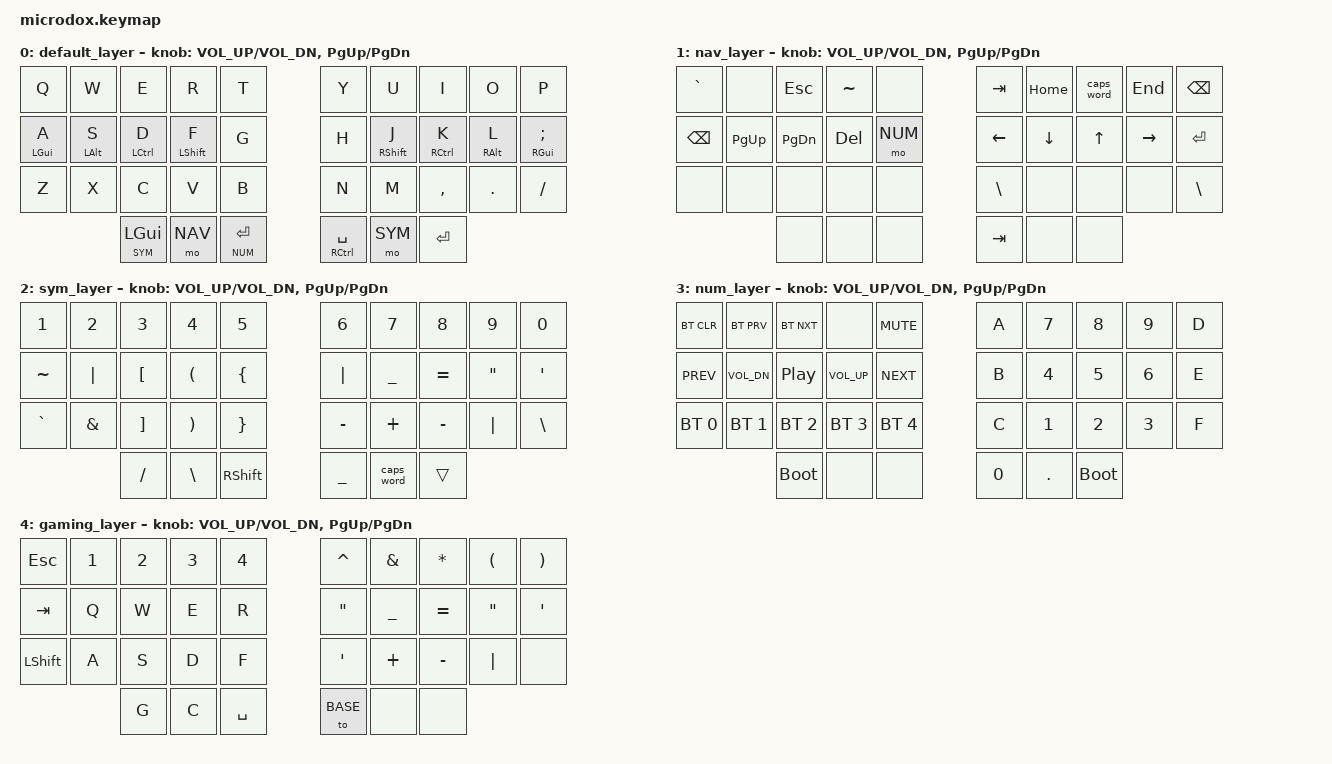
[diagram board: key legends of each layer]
// vim: set ft=c:
/*
 * Copyright (c) 2020 The ZMK Contributors
 *
 * SPDX-License-Identifier: MIT
 */

#include <behaviors.dtsi>
#include <dt-bindings/zmk/keys.h>
#include <dt-bindings/zmk/bt.h>

#define BASE 0
#define NAV  1
#define SYM  2
#define NUM  3
#define GAMING 4

&caps_word {
    continue-list = <UNDERSCORE BSPC>;
};

/{

/*
    macros {
        mute_teamspeak: mute_teamspeak {
            wait-ms = <10>;
            label = "mute_teamspeak";
            compatible = "zmk,behavior-macro";
            #binding-cells = <0>;
            bindings
            = <&macro_press &kp GRAVE &kp N1>
            , <&macro_wait_time 10>
            , <&macro_release &kp GRAVE &kp N1>
            ;
        }; 

        deafen_teamspeak: deafen_teamspeak {
            wait-ms = <10>;
            label = "deafen_teamspeak";
            compatible = "zmk,behavior-macro";
            #binding-cells = <0>;
            bindings
            = <&macro_press &kp GRAVE &kp N2>
            , <&macro_wait_time 10>
            , <&macro_release &kp GRAVE &kp N2>
            ;
        }; 
    };

    combos {
        compatible = "zmk,combos";
        combo_teamspeak_mute {
            timeout-ms = <50>;
            key-positions = <0 1>;
            bindings = <&mute_teamspeak>;
        };

        combo_teamspeak_deafen {
            timeout-ms = <50>;
            key-positions = <0 2>;
            bindings = <&deafen_teamspeak>;
        };

        combo_gaming_layer_switch {
            timeout-ms = <50>;
            key-positions = <0 3>;
            bindings = <&tog GAMING>;
        };
    };
*/
    behaviors {
        hm: homerow_mods {
            compatible = "zmk,behavior-hold-tap";
            label = "HOMEROW_MODS";
            #binding-cells = <2>;
            tapping-term-ms = <150>; // <---[[produces tap if held longer than tapping-term-ms]]
            quick-tap-ms = <75>;
            flavor = "tap-preferred";
            global-quick-tap;
            bindings = <&kp>, <&kp>;
        };
        phm: positional_homerow_mods {
            compatible = "zmk,behavior-hold-tap";
            label = "LEFT_POSITIONAL_HOMEROW_MODS";
            #binding-cells = <2>;
            tapping-term-ms = <150>; // <---[[produces tap if held longer than tapping-term-ms]]
            quick-tap-ms = <75>;
            flavor = "tap-preferred";
            bindings = <&kp>, <&kp>;
            global-quick-tap;
            hold-trigger-key-positions = <1 2 3 4 5>;
        };
    };

    keymap {
        compatible = "zmk,keymap";

        default_layer {
            // -----------------------------------------------------------------------------------------
            // |  Q  |  W  |  E  |  R  |  T   |   |  Y  |  U   |  I  |  O  |  P  |
            // |  A  |  S  |  D  |  F  |  G   |   |  H  |  J   |  K  |  L  |  ;  |
            // |  Z  |  X  |  C  |  V  |  B   |   |  N  |  M   |  ,  |  .  |  /  |
            //             | GUI | NAV | RET  |   | SPC | SYM  | ALT |

            bindings = <
                &kp Q           &kp W           &kp E           &kp R           &kp T           &kp Y               &kp U           &kp I           &kp O           &kp P
                &phm LGUI A     &phm LALT S     &phm LCTRL D    &phm LSHFT F    &kp G           &kp H               &hm RSHFT J     &hm RCTRL K     &hm RALT L      &hm RGUI SEMI
              //&hm  LGUI A     &hm  LALT S     &hm  LCTRL D    &hm  LSHFT F    &kp G           &kp H               &hm RSHFT J     &hm RCTRL K     &hm RALT L      &hm RGUI SEMI
                &kp Z           &kp X           &kp C           &kp V           &kp B           &kp N               &kp M           &kp COMMA       &kp DOT         &kp FSLH
                                                &lt SYM LGUI    &mo NAV         &lt NUM RET     &mt RCTRL SPACE     &mo SYM         &kp RET
            >;

            sensor-bindings = <&inc_dec_kp C_VOL_UP C_VOL_DN &inc_dec_kp PG_UP PG_DN>;

        };

        nav_layer {
            // -----------------------------------------------------------------------------------------
            // |  `   |      | ESC  |  ~   |     |   | TAB  | HOME |  UP  | END   | BKSP |
            // | BSPC | PGDN | PGUP | CTRL | NUM |   | LEFT | DOWN |  UP  | RIGHT | ENTR |
            // |      |      |      |      |     |   |  \   |      |      |       |  \   |
            //               |      |      |     |   |      |      |      |
            bindings = <
                &kp GRAVE    &none       &kp ESC        &kp TILDE       &none      &kp TAB      &kp HOME        &caps_word &kp END   &kp BSPC
                &kp BSPC     &kp PG_UP   &kp PG_DN      &kp DEL         &mo NUM    &kp LEFT     &kp DOWN        &kp UP     &kp RIGHT &kp RET
                &none        &none       &none          &none           &none      &kp BSLH     &none           &none      &none     &kp BSLH
                                         &none          &none           &none      &kp TAB      &none           &none 
            >;

            sensor-bindings = <&inc_dec_kp C_VOL_UP C_VOL_DN &inc_dec_kp PG_UP PG_DN>;

        };
   
        sym_layer {
            // -----------------------------------------------------------------------------------------
            // | 1/! | 2/@ | 3/# | 4/$ | 5/% |   | 6/^ | 7/& | 8/* | 9/( | 0/) |
            // |  ~  |  |  |  [  |  (  |  {  |   |  |  |  _  |  =  |  "  |  '  |
            // |  `  |  &  |  ]  |  )  |  }  |   |  -  |  +  |  -  |  |  |  \  |
            //             |  /  |  \  |SHFT |   |  _  |     |     |
            bindings = <
                &kp N1    &kp N2    &kp N3    &kp N4    &kp N5      &kp N6    &kp N7    &kp N8    &kp N9   &kp N0   
//              &kp EXCL  &kp AT    &kp HASH  &kp DLLR  &kp PRCNT   &kp CARET &kp AMPS  &kp STAR  &kp MINUS&kp EQUAL
                &kp TILDE &kp PIPE  &kp LBKT  &kp LPAR  &kp LBRC    &kp PIPE  &kp UNDER &kp EQUAL &kp DQT  &kp SQT 
                &kp GRAVE &kp AMPS  &kp RBKT  &kp RPAR  &kp RBRC    &kp MINUS &kp PLUS  &kp MINUS &kp PIPE &kp BSLH
                                    &kp FSLH  &kp BSLH  &kp RSHFT   &kp UNDER &caps_word &trans 
            >;

            sensor-bindings = <&inc_dec_kp C_VOL_UP C_VOL_DN &inc_dec_kp PG_UP PG_DN>;
        
        };

        // This layer is unreachable until "tri layer state" is sorted out.
        // Leaving it here for completeness.
        num_layer {
            // -----------------------------------------------------------------------------------------
            //  |      |     |     |     |     |   |  A  |  7  |  8  |  9  |  D  |
            //  |      |     |     |     |     |   |  B  |  4  |  5  |  6  |  E  |
            //  |      |     |     |     |     |   |  C  |  1  |  2  |  3  |  F  |
            //               |     |     |     |   |  0  |  .  |     |
            bindings = <
                &bt BT_CLR      &bt BT_PRV      &bt BT_NXT      &none           &kp C_MUTE      &kp A         &kp N7  &kp N8 &kp N9 &kp D
                &kp C_PREV      &kp C_VOL_DN    &kp C_PP        &kp C_VOL_UP    &kp C_NEXT      &kp B         &kp N4  &kp N5 &kp N6 &kp E
                &bt BT_SEL 0    &bt BT_SEL 1    &bt BT_SEL 2    &bt BT_SEL 3    &bt BT_SEL 4    &kp C         &kp N1  &kp N2 &kp N3 &kp F
                                                &bootloader     &none           &none           &kp N0        &kp DOT &bootloader
            >;

            sensor-bindings = <&inc_dec_kp C_VOL_UP C_VOL_DN &inc_dec_kp PG_UP PG_DN>;

        };

        gaming_layer {
            // -----------------------------------------------------------------------------------------
            // | ESC |  1  |  2  |  3  |  4  |   |  ^  |  &  |  *  |  (  |  )  |
            // | TAB |  Q  |  W  |  E  |  R  |   |  -  |  =  |  {  |  }  | "|" |
            // |     |  A  |  S  |  D  |  F  |   |  _  |  +  |  [  |  ]  |  \  |
            //             |  G  |  C  | SPC |   | L0  |     | ALT |
            bindings = <
                &kp ESC   &kp N1    &kp N2    &kp N3    &kp N4      &kp CARET &kp AMPS  &kp STAR        &kp LPAR &kp RPAR
                &kp TAB   &kp Q     &kp W     &kp E     &kp R       &kp DQT   &kp UNDER &kp EQUAL       &kp DQT  &kp SQT 
                &kp LSHFT &kp A     &kp S     &kp D     &kp F       &kp SQT   &kp PLUS  &kp MINUS       &kp PIPE &none   
                                    &kp G     &kp C     &kp SPACE   &to BASE  &none     &none   
            >;

            sensor-bindings = <&inc_dec_kp C_VOL_UP C_VOL_DN &inc_dec_kp PG_UP PG_DN>;
        
        };
    };
};
